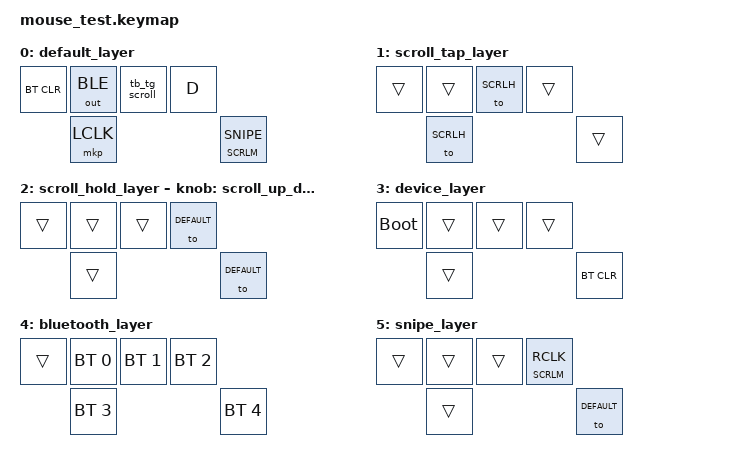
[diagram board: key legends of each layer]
#include <behaviors/mouse_keys.dtsi>
#include <behaviors.dtsi>
#include <dt-bindings/zmk/bt.h>
#include <dt-bindings/zmk/keys.h>
#include <dt-bindings/zmk/mouse.h>
#include <dt-bindings/zmk/outputs.h>
#include <interfaces/hid-trackball.dtsi>

#define DEFAULT 0
#define SCRLM 1
#define SCRLH 2
#define DEVICE 3
#define BLTH 4
#define SNIPE 5

/ {
  combos {
    compatible = "zmk,combos";
    combo_esc {
      timeout-ms = <50>;
      key-positions = <2 3>;
      bindings = <&mkp RCLK>;
    };
  };
  behaviors {
    ltm: layer-tap-or-mouse {
      compatible = "zmk,behavior-hold-tap";
      #binding-cells = <2>;
      flavor = "tap-preferred";
      tapping-term-ms = <200>;
      bindings = <&mo>, <&mkp>;
    };
    lhm: layer-tap-hold-or-mouse {
      compatible = "zmk,behavior-hold-tap";
      #binding-cells = <2>;
      flavor = "hold-preferred";
      hold-while-undecided;
      tapping-term-ms = <150>;
      bindings = <&mo>, <&mkp>;
    };
    mto: momentary-and-toggle {
      compatible = "zmk,behavior-hold-tap";
      #binding-cells = <2>;
      flavor = "hold-preferred";
      hold-while-undecided;
      tapping-term-ms = <200>;
      bindings = <&mo>, <&to>;
    };
        scroll_up_down: behavior_sensor_rotate_mouse_wheel_up_down {
            compatible = "zmk,behavior-sensor-rotate";
            #sensor-binding-cells = <0>;
            bindings = <&msc SCRL_UP>, <&msc SCRL_DOWN>;
            // 追加: スクロールのタップ時間を設定 (20ms)
            tap-ms = <20>;
        };
  };
  keymap {
    compatible = "zmk,keymap";
    default_layer {
      bindings = <
&bt BT_CLR &out OUT_BLE &tb_tg_scroll &kp D
//        &ltm BLTH MB4 &ltm DEVICE MB5 &mkp MCLK &lhm SCRLM RCLK
        &mkp LCLK                               &mto SCRLM SNIPE
      >;
    };
    scroll_tap_layer {
      bindings = <
        &trans &trans &to SCRLH &trans
        &to SCRLH               &trans
      >;
    };
    scroll_hold_layer {
      bindings = <
        &trans &trans &trans &to DEFAULT
        &trans               &to DEFAULT
      >;
sensor-bindings = <&scroll_up_down>;
    };
    device_layer {
      bindings = <
        &bootloader &trans &trans &trans
        &trans                    &bt BT_CLR
      >;
    };
    bluetooth_layer {
      bindings = <
        &trans &bt BT_SEL 0 &bt BT_SEL 1 &bt BT_SEL 2
        &bt BT_SEL 3                     &bt BT_SEL 4
      >;
    };
    snipe_layer {
      bindings = <
        &trans &trans &trans &lhm SCRLM RCLK
        &trans               &to DEFAULT
      >;
    };
  };
};
